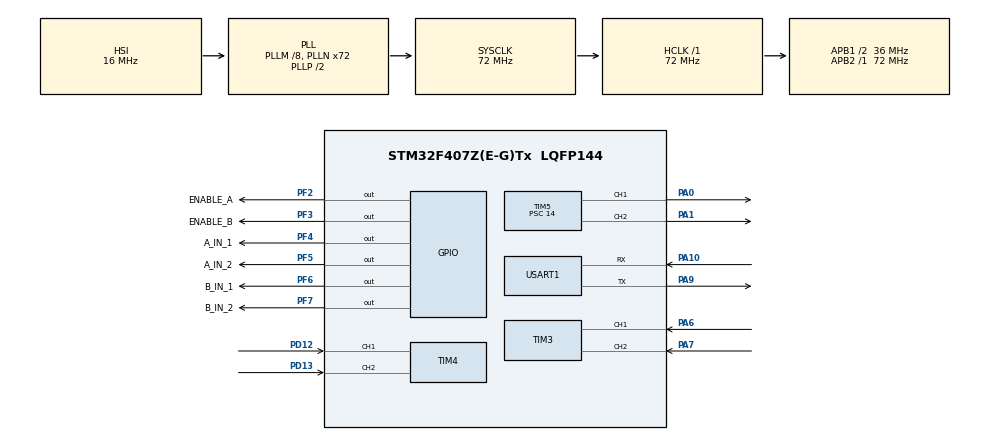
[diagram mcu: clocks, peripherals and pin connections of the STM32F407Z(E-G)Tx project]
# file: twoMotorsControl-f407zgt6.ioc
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Mcu.Family=STM32F4
Mcu.Name=STM32F407Z(E-G)Tx
Mcu.Package=LQFP144
NVIC.PriorityGroup=NVIC_PRIORITYGROUP_4
NVIC.TIM2_IRQn=true\:0\:0\:false\:false\:true\:true\:true\:true
PA0-WKUP.Signal=S_TIM5_CH1
PA1.Signal=S_TIM5_CH2
PA10.Mode=Asynchronous
PA10.Signal=USART1_RX
PA6.Signal=S_TIM3_CH1
PA7.Signal=S_TIM3_CH2
PA9.Mode=Asynchronous
PA9.Signal=USART1_TX
PD12.Signal=S_TIM4_CH1
PD13.Signal=S_TIM4_CH2
PF2.GPIO_Label=ENABLE_A
PF2.Signal=GPIO_Output
PF3.GPIO_Label=ENABLE_B
PF3.Signal=GPIO_Output
PF4.GPIO_Label=A_IN_1
PF4.Signal=GPIO_Output
PF5.GPIO_Label=A_IN_2
PF5.Signal=GPIO_Output
PF6.GPIO_Label=B_IN_1
PF6.Signal=GPIO_Output
PF7.GPIO_Label=B_IN_2
PF7.Signal=GPIO_Output
PH0-OSC_IN.Mode=HSE-External-Oscillator
PH0-OSC_IN.Signal=RCC_OSC_IN
PH1-OSC_OUT.Mode=HSE-External-Oscillator
PH1-OSC_OUT.Signal=RCC_OSC_OUT
ProjectManager.HeapSize=0x200
ProjectManager.StackSize=0x400
ProjectManager.TargetToolchain=STM32CubeIDE
RCC.48MHZClocksFreq_Value=36000000
RCC.AHBFreq_Value=72000000
RCC.APB1CLKDivider=RCC_HCLK_DIV2
RCC.APB1Freq_Value=36000000
RCC.APB1TimFreq_Value=72000000
RCC.APB2Freq_Value=72000000
RCC.APB2TimFreq_Value=72000000
RCC.CortexFreq_Value=72000000
RCC.HCLKFreq_Value=72000000
RCC.HSE_VALUE=25000000
RCC.HSI_VALUE=16000000
RCC.LSE_VALUE=32768
RCC.PLLM=8
RCC.PLLN=72
RCC.SYSCLKFreq_VALUE=72000000
RCC.SYSCLKSource=RCC_SYSCLKSOURCE_PLLCLK
RCC.VCOOutputFreq_Value=144000000
SH.S_TIM3_CH1.0=TIM3_CH1,Encoder_Interface
SH.S_TIM3_CH2.0=TIM3_CH2,Encoder_Interface
SH.S_TIM4_CH1.0=TIM4_CH1,Encoder_Interface
SH.S_TIM4_CH2.0=TIM4_CH2,Encoder_Interface
SH.S_TIM5_CH1.0=TIM5_CH1,PWM Generation1 CH1
SH.S_TIM5_CH2.0=TIM5_CH2,PWM Generation2 CH2
TIM2.AutoReloadPreload=TIM_AUTORELOAD_PRELOAD_ENABLE
TIM2.Period=720
TIM2.Prescaler=1000
TIM3.AutoReloadPreload=TIM_AUTORELOAD_PRELOAD_ENABLE
TIM3.EncoderMode=TIM_ENCODERMODE_TI12
TIM4.AutoReloadPreload=TIM_AUTORELOAD_PRELOAD_ENABLE
TIM4.EncoderMode=TIM_ENCODERMODE_TI12
TIM5.AutoReloadPreload=TIM_AUTORELOAD_PRELOAD_ENABLE
TIM5.Channel-PWM\ Generation1\ CH1=TIM_CHANNEL_1
TIM5.Channel-PWM\ Generation2\ CH2=TIM_CHANNEL_2
TIM5.Period=999
TIM5.Prescaler=14
USART1.VirtualMode=VM_ASYNC
VP_TIM2_VS_ClockSourceINT.Mode=Internal
VP_TIM2_VS_ClockSourceITR.Mode=TriggerSource_ITR0
VP_TIM5_VS_ClockSourceINT.Mode=Internal
board=custom

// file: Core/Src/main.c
/* USER CODE BEGIN Header */
/**
  ******************************************************************************
  * @file           : main.c
  * @brief          : Main program body
  ******************************************************************************
  * @attention
  *
  * Copyright (c) 2023 STMicroelectronics.
  * All rights reserved.
  *
  * This software is licensed under terms that can be found in the LICENSE file
  * in the root directory of this software component.
  * If no LICENSE file comes with this software, it is provided AS-IS.
  *
  ******************************************************************************
  */
/* USER CODE END Header */
#include "main.h"

/* USER CODE BEGIN Includes */
#include <stdio.h>
#include "pwmPidControl.h"
/* USER CODE END Includes */

/* USER CODE BEGIN PD */

//definições dos controles

//maiores e menores mudanças no PWM
#define MAX_PWM 200
#define MIN_PWM -200

//Parametros para o motor A (podem ser ajustados)
#define KP_A 0.04
#define KI_A 0.00001
#define KD_A 0

//parametros para o motor B (podem ser ajustados)
#define KP_B 0.04
#define KI_B 0.00001
#define KD_B 0

//valores utilizados no código
#define STEP_BUFFER_SIZE 10
#define TIMER_INIT_VALUE 30000 //para eviar lidar com overflow
#define CCR_LIMIT 999
#define DELTA_T 0.01 //intervalo entre interrupções
/* USER CODE END PD */

TIM_HandleTypeDef htim2;
TIM_HandleTypeDef htim3;
TIM_HandleTypeDef htim4;
TIM_HandleTypeDef htim5;

UART_HandleTypeDef huart1;

/* USER CODE BEGIN PV */
//passo de cada encoder: Como está em modo x4 (.ioc), um ciclo de pulsos equivale a aumentar o contador em 4
int A_Step = 0;
int B_Step = 0;
//velocidade em pulsos/s
float A_Speed = 0;
float B_Speed = 0;
//tempo desde o início da aplicação, usado para gerar gráficos
float pastTime = 0;
//contagem dos ticks do clock
uint32_t currentTick, lastTick = 0;

//buffers para atuar como filtro média móvel
int A_Buffer[STEP_BUFFER_SIZE];
int B_Buffer[STEP_BUFFER_SIZE];
//variáveis usadas na interrupção
float A_Sum = 0, B_Sum =0;
int i, j;

//variáveis de controle
Pid A_MotorController;
Pid B_MotorController;
//para receber valores float e não acontecer perdas de valores decimais
float A_Duty = 0;
float B_Duty = 0;
//velocidades alvos definidas pelo alto nível
//TODO: realizar integração com alto nível obtendo estas velocidades
float A_SetPoint = 0;
float B_SetPoint = 0;
/* USER CODE END PV */

void SystemClock_Config(void);
static void MX_GPIO_Init(void);
static void MX_TIM2_Init(void);
static void MX_TIM3_Init(void);
static void MX_TIM4_Init(void);
static void MX_TIM5_Init(void);
static void MX_USART1_UART_Init(void);
/* USER CODE BEGIN PFP */

//Para transmitir dados usando uma FTDI e putty. Precisa do UART1 ligado
int _write(int fd, char* ptr, int len) {
    HAL_UART_Transmit(&huart1, (uint8_t *) ptr, len, HAL_MAX_DELAY);
    return len;
}

// configuração lógica do driver para que o motor A gire no sentido horário
void A_MotorClockWise();

// configuração lógica do driver para que o motor A gire no sentido anti-horário
void A_MotorCounterClockWise();

// configuração lógica do driver para que o motor A não gire
void A_MotorStop();

//análogo para o motor B
//a lógica dentro da função é invertida pois o motor está de cabeça para baixo no andador
void B_MotorClockWise();
void B_MotorCounterClockWise();
void B_MotorStop();

/* USER CODE END PFP */

int main(void)
{

  /* MCU Configuration--------------------------------------------------------*/

  /* Reset of all peripherals, Initializes the Flash interface and the Systick. */
  HAL_Init();

  /* Configure the system clock */
  SystemClock_Config();

  /* Initialize all configured peripherals */
  MX_GPIO_Init();
  MX_TIM2_Init();
  MX_TIM3_Init();
  MX_TIM4_Init();
  MX_TIM5_Init();
  MX_USART1_UART_Init();
  /* USER CODE BEGIN 2 */

  //instancia dois canais de PWM do timer 1
  HAL_TIM_PWM_Start(&htim5, TIM_CHANNEL_1); //motor A
  HAL_TIM_PWM_Start(&htim5, TIM_CHANNEL_2); //motor B

  //instancia os encoders para os motores
  HAL_TIM_Encoder_Start(&htim3, TIM_CHANNEL_ALL); //motor A
  HAL_TIM_Encoder_Start(&htim4, TIM_CHANNEL_ALL); //motor B

  //instancia os controladores PID de cada motor
  pidInit(&A_MotorController, MIN_PWM, MAX_PWM, KP_A, KI_A, KD_A); //motor A
  pidInit(&B_MotorController, MIN_PWM, MAX_PWM, KP_B, KI_B, KD_B); //motor B

  //mantém os pinos de enable ligados (condição necessária para o driver)
  HAL_GPIO_WritePin(GPIOF, ENABLE_A_Pin, GPIO_PIN_SET);
  HAL_GPIO_WritePin(GPIOF, ENABLE_B_Pin, GPIO_PIN_SET);

  //motores inicialmente parados (questão de segurança)
  A_MotorStop();
  B_MotorStop();
  //TIM5->CC1: PWM PARA MOTOR A
  //TIM5->CCR2 PWM PARA MOTOR B
  TIM5->CCR1 = 0; TIM5->CCR2 = 0; //dutyCycle inicialmente em 0%

  //inicializa os buffers com 0
  for(i= 0; i< STEP_BUFFER_SIZE; i++){
	  A_Buffer[i] = 0;
	  B_Buffer[i] = 0;
  }
  i=0;

  //mantém os registradores dos encoders em um valor diferente de zero
  //para não lidar com overflow
  TIM3->CNT = TIMER_INIT_VALUE;
  TIM4->CNT = TIMER_INIT_VALUE;

  //inicia a interrupção, é chamada a cada 10 ms. Configurável no .ioc
  //chama a função HAL_TIM_PeriodElapsedCallback
  HAL_TIM_Base_Start_IT(&htim2);
  /* USER CODE END 2 */

  /* Infinite loop */
  while (1)
  {

  }
}

void SystemClock_Config(void)
{
  RCC_OscInitTypeDef RCC_OscInitStruct = {0};
  RCC_ClkInitTypeDef RCC_ClkInitStruct = {0};

  /** Configure the main internal regulator output voltage
  */
  __HAL_RCC_PWR_CLK_ENABLE();
  __HAL_PWR_VOLTAGESCALING_CONFIG(PWR_REGULATOR_VOLTAGE_SCALE1);

  /** Initializes the RCC Oscillators according to the specified parameters
  * in the RCC_OscInitTypeDef structure.
  */
  RCC_OscInitStruct.OscillatorType = RCC_OSCILLATORTYPE_HSI;
  RCC_OscInitStruct.HSIState = RCC_HSI_ON;
  RCC_OscInitStruct.HSICalibrationValue = RCC_HSICALIBRATION_DEFAULT;
  RCC_OscInitStruct.PLL.PLLState = RCC_PLL_ON;
  RCC_OscInitStruct.PLL.PLLSource = RCC_PLLSOURCE_HSI;
  RCC_OscInitStruct.PLL.PLLM = 8;
  RCC_OscInitStruct.PLL.PLLN = 72;
  RCC_OscInitStruct.PLL.PLLP = RCC_PLLP_DIV2;
  RCC_OscInitStruct.PLL.PLLQ = 4;
  if (HAL_RCC_OscConfig(&RCC_OscInitStruct) != HAL_OK)
  {
    Error_Handler();
  }

  /** Initializes the CPU, AHB and APB buses clocks
  */
  RCC_ClkInitStruct.ClockType = RCC_CLOCKTYPE_HCLK|RCC_CLOCKTYPE_SYSCLK
                              |RCC_CLOCKTYPE_PCLK1|RCC_CLOCKTYPE_PCLK2;
  RCC_ClkInitStruct.SYSCLKSource = RCC_SYSCLKSOURCE_PLLCLK;
  RCC_ClkInitStruct.AHBCLKDivider = RCC_SYSCLK_DIV1;
  RCC_ClkInitStruct.APB1CLKDivider = RCC_HCLK_DIV2;
  RCC_ClkInitStruct.APB2CLKDivider = RCC_HCLK_DIV1;

  if (HAL_RCC_ClockConfig(&RCC_ClkInitStruct, FLASH_LATENCY_2) != HAL_OK)
  {
    Error_Handler();
  }
}

static void MX_TIM2_Init(void)
{

  TIM_ClockConfigTypeDef sClockSourceConfig = {0};
  TIM_SlaveConfigTypeDef sSlaveConfig = {0};
  TIM_MasterConfigTypeDef sMasterConfig = {0};

  htim2.Instance = TIM2;
  htim2.Init.Prescaler = 1000;
  htim2.Init.CounterMode = TIM_COUNTERMODE_UP;
  htim2.Init.Period = 720;
  htim2.Init.ClockDivision = TIM_CLOCKDIVISION_DIV1;
  htim2.Init.AutoReloadPreload = TIM_AUTORELOAD_PRELOAD_ENABLE;
  if (HAL_TIM_Base_Init(&htim2) != HAL_OK)
  {
    Error_Handler();
  }
  sClockSourceConfig.ClockSource = TIM_CLOCKSOURCE_INTERNAL;
  if (HAL_TIM_ConfigClockSource(&htim2, &sClockSourceConfig) != HAL_OK)
  {
    Error_Handler();
  }
  sSlaveConfig.SlaveMode = TIM_SLAVEMODE_DISABLE;
  sSlaveConfig.InputTrigger = TIM_TS_ITR0;
  if (HAL_TIM_SlaveConfigSynchro(&htim2, &sSlaveConfig) != HAL_OK)
  {
    Error_Handler();
  }
  sMasterConfig.MasterOutputTrigger = TIM_TRGO_RESET;
  sMasterConfig.MasterSlaveMode = TIM_MASTERSLAVEMODE_DISABLE;
  if (HAL_TIMEx_MasterConfigSynchronization(&htim2, &sMasterConfig) != HAL_OK)
  {
    Error_Handler();
  }

}

static void MX_TIM3_Init(void)
{

  TIM_Encoder_InitTypeDef sConfig = {0};
  TIM_MasterConfigTypeDef sMasterConfig = {0};

  htim3.Instance = TIM3;
  htim3.Init.Prescaler = 0;
  htim3.Init.CounterMode = TIM_COUNTERMODE_UP;
  htim3.Init.Period = 65535;
  htim3.Init.ClockDivision = TIM_CLOCKDIVISION_DIV1;
  htim3.Init.AutoReloadPreload = TIM_AUTORELOAD_PRELOAD_ENABLE;
  sConfig.EncoderMode = TIM_ENCODERMODE_TI12;
  sConfig.IC1Polarity = TIM_ICPOLARITY_RISING;
  sConfig.IC1Selection = TIM_ICSELECTION_DIRECTTI;
  sConfig.IC1Prescaler = TIM_ICPSC_DIV1;
  sConfig.IC1Filter = 0;
  sConfig.IC2Polarity = TIM_ICPOLARITY_RISING;
  sConfig.IC2Selection = TIM_ICSELECTION_DIRECTTI;
  sConfig.IC2Prescaler = TIM_ICPSC_DIV1;
  sConfig.IC2Filter = 0;
  if (HAL_TIM_Encoder_Init(&htim3, &sConfig) != HAL_OK)
  {
    Error_Handler();
  }
  sMasterConfig.MasterOutputTrigger = TIM_TRGO_RESET;
  sMasterConfig.MasterSlaveMode = TIM_MASTERSLAVEMODE_DISABLE;
  if (HAL_TIMEx_MasterConfigSynchronization(&htim3, &sMasterConfig) != HAL_OK)
  {
    Error_Handler();
  }

}

static void MX_TIM4_Init(void)
{

  TIM_Encoder_InitTypeDef sConfig = {0};
  TIM_MasterConfigTypeDef sMasterConfig = {0};

  htim4.Instance = TIM4;
  htim4.Init.Prescaler = 0;
  htim4.Init.CounterMode = TIM_COUNTERMODE_UP;
  htim4.Init.Period = 65535;
  htim4.Init.ClockDivision = TIM_CLOCKDIVISION_DIV1;
  htim4.Init.AutoReloadPreload = TIM_AUTORELOAD_PRELOAD_ENABLE;
  sConfig.EncoderMode = TIM_ENCODERMODE_TI12;
  sConfig.IC1Polarity = TIM_ICPOLARITY_RISING;
  sConfig.IC1Selection = TIM_ICSELECTION_DIRECTTI;
  sConfig.IC1Prescaler = TIM_ICPSC_DIV1;
  sConfig.IC1Filter = 0;
  sConfig.IC2Polarity = TIM_ICPOLARITY_RISING;
  sConfig.IC2Selection = TIM_ICSELECTION_DIRECTTI;
  sConfig.IC2Prescaler = TIM_ICPSC_DIV1;
  sConfig.IC2Filter = 0;
  if (HAL_TIM_Encoder_Init(&htim4, &sConfig) != HAL_OK)
  {
    Error_Handler();
  }
  sMasterConfig.MasterOutputTrigger = TIM_TRGO_RESET;
  sMasterConfig.MasterSlaveMode = TIM_MASTERSLAVEMODE_DISABLE;
  if (HAL_TIMEx_MasterConfigSynchronization(&htim4, &sMasterConfig) != HAL_OK)
  {
    Error_Handler();
  }

}

static void MX_TIM5_Init(void)
{

  TIM_ClockConfigTypeDef sClockSourceConfig = {0};
  TIM_MasterConfigTypeDef sMasterConfig = {0};
  TIM_OC_InitTypeDef sConfigOC = {0};

  htim5.Instance = TIM5;
  htim5.Init.Prescaler = 14;
  htim5.Init.CounterMode = TIM_COUNTERMODE_UP;
  htim5.Init.Period = 999;
  htim5.Init.ClockDivision = TIM_CLOCKDIVISION_DIV1;
  htim5.Init.AutoReloadPreload = TIM_AUTORELOAD_PRELOAD_ENABLE;
  if (HAL_TIM_Base_Init(&htim5) != HAL_OK)
  {
    Error_Handler();
  }
  sClockSourceConfig.ClockSource = TIM_CLOCKSOURCE_INTERNAL;
  if (HAL_TIM_ConfigClockSource(&htim5, &sClockSourceConfig) != HAL_OK)
  {
    Error_Handler();
  }
  if (HAL_TIM_PWM_Init(&htim5) != HAL_OK)
  {
    Error_Handler();
  }
  sMasterConfig.MasterOutputTrigger = TIM_TRGO_RESET;
  sMasterConfig.MasterSlaveMode = TIM_MASTERSLAVEMODE_DISABLE;
  if (HAL_TIMEx_MasterConfigSynchronization(&htim5, &sMasterConfig) != HAL_OK)
  {
    Error_Handler();
  }
  sConfigOC.OCMode = TIM_OCMODE_PWM1;
  sConfigOC.Pulse = 0;
  sConfigOC.OCPolarity = TIM_OCPOLARITY_HIGH;
  sConfigOC.OCFastMode = TIM_OCFAST_DISABLE;
  if (HAL_TIM_PWM_ConfigChannel(&htim5, &sConfigOC, TIM_CHANNEL_1) != HAL_OK)
  {
    Error_Handler();
  }
  if (HAL_TIM_PWM_ConfigChannel(&htim5, &sConfigOC, TIM_CHANNEL_2) != HAL_OK)
  {
    Error_Handler();
  }
  HAL_TIM_MspPostInit(&htim5);

}

static void MX_USART1_UART_Init(void)
{

  huart1.Instance = USART1;
  huart1.Init.BaudRate = 115200;
  huart1.Init.WordLength = UART_WORDLENGTH_8B;
  huart1.Init.StopBits = UART_STOPBITS_1;
  huart1.Init.Parity = UART_PARITY_NONE;
  huart1.Init.Mode = UART_MODE_TX_RX;
  huart1.Init.HwFlowCtl = UART_HWCONTROL_NONE;
  huart1.Init.OverSampling = UART_OVERSAMPLING_16;
  if (HAL_UART_Init(&huart1) != HAL_OK)
  {
    Error_Handler();
  }

}

static void MX_GPIO_Init(void)
{
  GPIO_InitTypeDef GPIO_InitStruct = {0};

  /* GPIO Ports Clock Enable */
  __HAL_RCC_GPIOF_CLK_ENABLE();
  __HAL_RCC_GPIOH_CLK_ENABLE();
  __HAL_RCC_GPIOA_CLK_ENABLE();
  __HAL_RCC_GPIOD_CLK_ENABLE();

  /*Configure GPIO pin Output Level */
  HAL_GPIO_WritePin(GPIOF, ENABLE_A_Pin|ENABLE_B_Pin|A_IN_1_Pin|A_IN_2_Pin
                          |B_IN_1_Pin|B_IN_2_Pin, GPIO_PIN_RESET);

  /*Configure GPIO pins : ENABLE_A_Pin ENABLE_B_Pin A_IN_1_Pin A_IN_2_Pin
                           B_IN_1_Pin B_IN_2_Pin */
  GPIO_InitStruct.Pin = ENABLE_A_Pin|ENABLE_B_Pin|A_IN_1_Pin|A_IN_2_Pin
                          |B_IN_1_Pin|B_IN_2_Pin;
  GPIO_InitStruct.Mode = GPIO_MODE_OUTPUT_PP;
  GPIO_InitStruct.Pull = GPIO_NOPULL;
  GPIO_InitStruct.Speed = GPIO_SPEED_FREQ_LOW;
  HAL_GPIO_Init(GPIOF, &GPIO_InitStruct);

}

/* USER CODE BEGIN 4 */
//control interrupt
void HAL_TIM_PeriodElapsedCallback(TIM_HandleTypeDef* htim){
	if(htim == &htim2){

		//TODO: integração com o alto nível! Atualizar o setPoint em tempo real

//		currentTick = HAL_GetTick(); //para contar o tempo decorrido (gerar gráfico  com o script python)

		//obtém quanto cada encoder andou
		A_Step = TIM3->CNT - TIMER_INIT_VALUE;
		B_Step = (TIM4->CNT - TIMER_INIT_VALUE) * -1; //o motor está de cabeça para baixo no andador

		TIM3->CNT = TIMER_INIT_VALUE;
		TIM4->CNT = TIMER_INIT_VALUE;

//		pastTime += (float)(currentTick - lastTick) / 1000; //para gerar gráficos  com o script python

//		/*Testes de velocidade*/

//		if(pastTime > 45){
//			A_SetPoint = 2000;
//			B_SetPoint = 2000;
//		}
//		else if(pastTime > 35){
//			A_SetPoint = -2000;
//			B_SetPoint = -2000;
//		}
//		else if(pastTime > 25){
//			A_SetPoint = 0;
//			B_SetPoint = 0;
//		}
//		else if(pastTime > 15){
//			A_SetPoint = -2000;
//			B_SetPoint = -2000;
//		}
//		else if(pastTime > 5){
//			A_SetPoint = 2000;
//			B_SetPoint = 2000;
//		}

		/*diferentes tipos de movimento para motor A */
		//horário
		if(A_SetPoint > 0) A_MotorClockWise();
		//anti-horário
		else if(A_SetPoint < 0) A_MotorCounterClockWise();
		//parado
		else {
			A_MotorStop();
			TIM5->CCR1 = 0; //0% dutyCycle
			A_Duty = 0; //evita enviesar a próxima velocidade
		}
		//análogo para o motor B
		if(B_SetPoint > 0) B_MotorClockWise();
		else if(B_SetPoint < 0) B_MotorCounterClockWise();
		else{
			B_MotorStop();
			TIM5->CCR2 = 0;
			B_Duty = 0;
		}

		if(i >= 10) i=0; //cria estrutura de fila no buffer

		//atualiza o buffer de velocidade (atua como filtro média móvel)
		A_Buffer[i] = A_Step;
		B_Buffer[i] = B_Step;
		i++;

		//obtém a velocidade média de cada buffer
		for(j=0; j< STEP_BUFFER_SIZE; j++){
			A_Sum += A_Buffer[j];
			B_Sum += B_Buffer[j];
		}

		A_Sum /= STEP_BUFFER_SIZE;
		B_Sum /= STEP_BUFFER_SIZE;

		// velocidade atual em pulsos/s
		A_Speed = A_Sum / DELTA_T;
		B_Speed = B_Sum / DELTA_T;

		//obtém variação no PWM em ponto flutuante
		A_Duty += computePwmValue(A_SetPoint, A_Speed, &A_MotorController);
		B_Duty += computePwmValue(B_SetPoint, B_Speed, &B_MotorController);

		//considera os limites do CCR para os motores
		if(A_Duty > CCR_LIMIT) A_Duty = CCR_LIMIT;
		else if(A_Duty < 0) A_Duty = 0;

		if(B_Duty > CCR_LIMIT) B_Duty = CCR_LIMIT;
		else if(B_Duty < 0) B_Duty = 0;

		//CCR em CCR_LIMIT -> DUTY CYCLE 100%
		//CCR em 0 -> DUTY CYCLE 0%
		//configurável no .ioc

		//atualiza pwm enviado ao driver
		TIM5->CCR1 = A_Duty;
		TIM5->CCR2 = B_Duty;

		/* debug printing */
//		printf("stepA: %d stepB: %d\r\n", A_Step, B_Step); //encoder step
//		printf("PWM: %ld\r\n", TIM1->CCR4); //pwm register
//		printf("%f %f %f\n\r", A_Speed, B_Speed, pastTime); //graphic for both motors
//		printf("%ld\r\n", currentTick - lastTick); //time between interrupts

		//atualizações para a próxima iteração
		A_Sum = 0;
		B_Sum = 0;
		//lastTick = currentTick; //para gerar gráficos com o script python
	}
}

/**
 * AIN1: ON
 * AIN2: OFF
 * */
void A_MotorClockWise(){
	HAL_GPIO_WritePin(GPIOF, A_IN_1_Pin, GPIO_PIN_SET);
	HAL_GPIO_WritePin(GPIOF, A_IN_2_Pin, GPIO_PIN_RESET);
}

/**
 * AIN1: OFF
 * AIN2: ON
 * */
void A_MotorCounterClockWise(){
	HAL_GPIO_WritePin(GPIOF, A_IN_1_Pin, GPIO_PIN_RESET);
	HAL_GPIO_WritePin(GPIOF, A_IN_2_Pin, GPIO_PIN_SET);
}

/**
 * AIN1: OFF
 * AIN2: OFF
 * */
//brakes to GND
void A_MotorStop(){
	HAL_GPIO_WritePin(GPIOF, A_IN_1_Pin, GPIO_PIN_RESET);
	HAL_GPIO_WritePin(GPIOF, A_IN_2_Pin, GPIO_PIN_RESET);
}

void B_MotorCounterClockWise(){
	HAL_GPIO_WritePin(GPIOF, B_IN_1_Pin, GPIO_PIN_SET);
	HAL_GPIO_WritePin(GPIOF, B_IN_2_Pin, GPIO_PIN_RESET);
}

void B_MotorClockWise(){
	HAL_GPIO_WritePin(GPIOF, B_IN_1_Pin, GPIO_PIN_RESET);
	HAL_GPIO_WritePin(GPIOF, B_IN_2_Pin, GPIO_PIN_SET);
}

//brakes to GND
void B_MotorStop(){
	HAL_GPIO_WritePin(GPIOF, B_IN_1_Pin, GPIO_PIN_RESET);
	HAL_GPIO_WritePin(GPIOF, B_IN_2_Pin, GPIO_PIN_RESET);
}
/* USER CODE END 4 */

void Error_Handler(void)
{
  __disable_irq();
  while (1)
  {
  }
}
